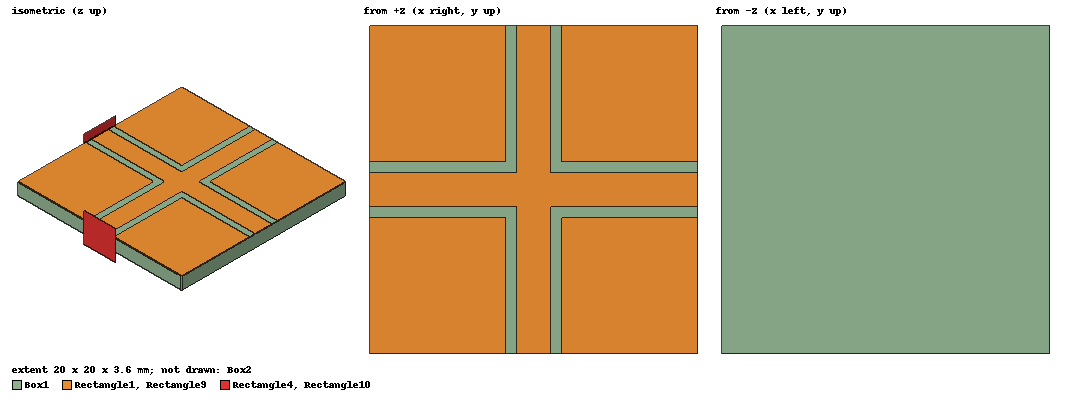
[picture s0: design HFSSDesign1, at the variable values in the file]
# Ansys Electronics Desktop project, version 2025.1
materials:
  vacuum: permittivity=1
  FR4_epoxy: permittivity=4.4 dielectric_loss_tangent=0.02
  air: permittivity=1.0006 permeability=1.0000004

design HFSSDesign1 (HFSS, HFSS Terminal Network, model units mm)
options: Calculate_Lossy_Dielectrics
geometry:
  Box1 [FR4_epoxy] = box(corner=(-10mm, 0mm, 0.1mm), size=(20mm, 20mm, 1.5mm))
  Rectangle1 = rectangle(corner=(-1.03mm, 0mm, 1.6mm), x_size=2.06mm, y_size=20mm)
  Rectangle4 = rectangle(corner=(-2mm, 0mm, -1mm), z_size=(2+1.6) mm, x_size=4mm)
  Box2 [air] = box(corner=(-10mm, 0mm, -10mm), size=(20mm, 20mm, 20mm))
  Rectangle6 = rectangle(corner=(-10mm, (10-1.03) mm, 1.6mm), x_size=20mm, y_size=2.06mm)
  Rectangle1.unite(Rectangle6)
  Rectangle7 = rectangle(corner=(-1.7mm, 0mm, 1.6mm), x_size=3.4mm, y_size=20mm)
  Rectangle8 = rectangle(corner=(-10mm, (10-1.7) mm, 1.6mm), x_size=20mm, y_size=3.4mm)
  Rectangle8.unite(Rectangle7)
  Rectangle9 = rectangle(corner=(-10mm, 20mm, 1.6mm), x_size=20mm, y_size=-20mm)
  Rectangle9.subtract(Rectangle8)
  Rectangle10 = rectangle(corner=(10mm, (10-2) mm, -1mm), y_size=4mm, z_size=3.6mm)
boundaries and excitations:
  PerfE1: Perfect E Objects=Rectangle1
  Rad1: Radiation Objects=Box2
  PerfE2: Perfect E Objects=Rectangle9
  1: Wave Port Objects=Rectangle4 WavePortType=Modal NumModes=1 Modes{Mode1{CharImp=Zpi}}
  2: Wave Port Objects=Rectangle10 WavePortType=Modal NumModes=1 Modes{Mode1{CharImp=Zpi}}
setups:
  Setup1: HfssDriven MultipleAdaptiveFreqsSetup{Low=1GHz High=20GHz} MaxDeltaS=0.02 MaximumPasses=12 MinimumPasses=1 MinimumConvergedPasses=1 PercentRefinement=30 BasisOrder=1 PortAccuracy=2 DrivenSolverType="Direct Solver"
    sweep Sweep: 1GHz to 20GHz, 401 points; Type=Interpolating InterpTolerance=0.5 InterpMaxSolns=250 PassivityErrorTolerance=0.0001
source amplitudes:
  1:1: 1V 0deg
  2:1: 0V 0deg
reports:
  Port Zo Plot1: re(Zo(1)), re(Zo(2)) vs Freq on Setup1 : Sweep
  S Parameter Plot1: dB(S(1,1)), dB(S(2,1)), dB(S(1,2)), dB(S(2,2)) vs Freq on Setup1 : Sweep
